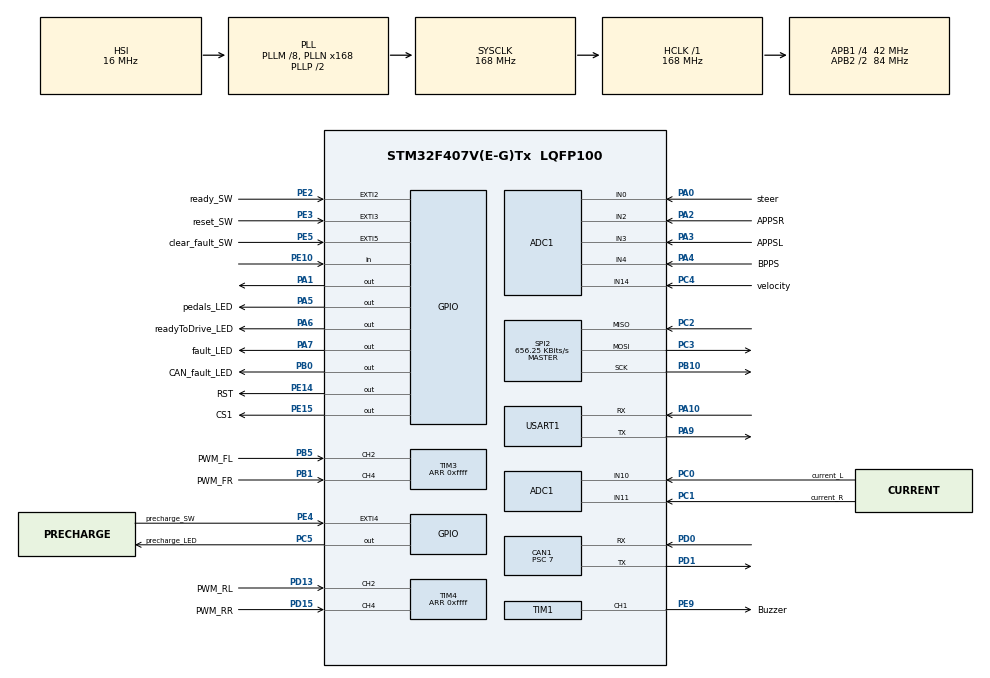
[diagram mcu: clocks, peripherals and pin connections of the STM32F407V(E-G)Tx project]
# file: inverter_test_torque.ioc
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ADC1.Channel-0\#ChannelRegularConversion=ADC_CHANNEL_2
ADC1.Channel-1\#ChannelRegularConversion=ADC_CHANNEL_3
ADC1.Channel-2\#ChannelRegularConversion=ADC_CHANNEL_4
ADC1.Channel-3\#ChannelRegularConversion=ADC_CHANNEL_0
ADC1.Channel-4\#ChannelRegularConversion=ADC_CHANNEL_14
ADC1.Channel-5\#ChannelRegularConversion=ADC_CHANNEL_10
ADC1.Channel-6\#ChannelRegularConversion=ADC_CHANNEL_11
ADC1.ClockPrescaler=ADC_CLOCK_SYNC_PCLK_DIV8
ADC1.ContinuousConvMode=ENABLE
ADC1.DMAContinuousRequests=ENABLE
ADC1.NbrOfConversion=7
ADC1.NbrOfConversionFlag=1
ADC1.Rank-0\#ChannelRegularConversion=1
ADC1.Rank-1\#ChannelRegularConversion=2
ADC1.Rank-2\#ChannelRegularConversion=3
ADC1.Rank-3\#ChannelRegularConversion=4
ADC1.Rank-4\#ChannelRegularConversion=5
ADC1.Rank-5\#ChannelRegularConversion=6
ADC1.Rank-6\#ChannelRegularConversion=7
ADC1.SamplingTime-0\#ChannelRegularConversion=ADC_SAMPLETIME_112CYCLES
ADC1.SamplingTime-1\#ChannelRegularConversion=ADC_SAMPLETIME_112CYCLES
ADC1.SamplingTime-2\#ChannelRegularConversion=ADC_SAMPLETIME_112CYCLES
ADC1.SamplingTime-3\#ChannelRegularConversion=ADC_SAMPLETIME_112CYCLES
ADC1.SamplingTime-4\#ChannelRegularConversion=ADC_SAMPLETIME_112CYCLES
ADC1.SamplingTime-5\#ChannelRegularConversion=ADC_SAMPLETIME_112CYCLES
ADC1.SamplingTime-6\#ChannelRegularConversion=ADC_SAMPLETIME_112CYCLES
ADC1.ScanConvMode=ENABLE
ADC1.master=1
CAN1.BS1=CAN_BS1_5TQ
CAN1.BS2=CAN_BS2_6TQ
CAN1.CalculateBaudRate=500000
CAN1.CalculateTimeBit=1999.99
CAN1.CalculateTimeQuantum=166.66666666666669
CAN1.Prescaler=7
Dma.ADC1.0.Direction=DMA_PERIPH_TO_MEMORY
Dma.ADC1.0.FIFOMode=DMA_FIFOMODE_DISABLE
Dma.ADC1.0.Instance=DMA2_Stream0
Dma.ADC1.0.MemDataAlignment=DMA_MDATAALIGN_HALFWORD
Dma.ADC1.0.MemInc=DMA_MINC_ENABLE
Dma.ADC1.0.Mode=DMA_CIRCULAR
Dma.ADC1.0.PeriphDataAlignment=DMA_PDATAALIGN_HALFWORD
Dma.ADC1.0.PeriphInc=DMA_PINC_DISABLE
Dma.ADC1.0.Priority=DMA_PRIORITY_LOW
Dma.Request0=ADC1
Dma.Request1=USART1_RX
Dma.USART1_RX.1.Direction=DMA_PERIPH_TO_MEMORY
Dma.USART1_RX.1.FIFOMode=DMA_FIFOMODE_DISABLE
Dma.USART1_RX.1.Instance=DMA2_Stream2
Dma.USART1_RX.1.MemDataAlignment=DMA_MDATAALIGN_BYTE
Dma.USART1_RX.1.MemInc=DMA_MINC_ENABLE
Dma.USART1_RX.1.Mode=DMA_NORMAL
Dma.USART1_RX.1.PeriphDataAlignment=DMA_PDATAALIGN_BYTE
Dma.USART1_RX.1.PeriphInc=DMA_PINC_DISABLE
Dma.USART1_RX.1.Priority=DMA_PRIORITY_LOW
IWDG.Prescaler=IWDG_PRESCALER_32
IWDG.Reload=1000
Mcu.Family=STM32F4
Mcu.Name=STM32F407V(E-G)Tx
Mcu.Package=LQFP100
NVIC.CAN1_RX0_IRQn=true\:3\:0\:true\:true\:true\:4\:true\:true
NVIC.DMA2_Stream0_IRQn=true\:0\:0\:false\:true\:true\:1\:false\:true
NVIC.DMA2_Stream2_IRQn=true\:0\:0\:false\:false\:true\:false\:true
NVIC.EXTI2_IRQn=true\:0\:0\:false\:false\:true\:true\:true
NVIC.EXTI3_IRQn=true\:1\:0\:true\:true\:true\:2\:true\:true
NVIC.EXTI4_IRQn=true\:1\:1\:true\:true\:true\:5\:true\:true
NVIC.EXTI9_5_IRQn=true\:3\:0\:true\:true\:true\:6\:true\:true
NVIC.PriorityGroup=NVIC_PRIORITYGROUP_2
NVIC.TIM2_IRQn=true\:2\:0\:true\:true\:true\:3\:true\:true
NVIC.TIM3_IRQn=true\:2\:0\:true\:false\:true\:true\:true
NVIC.TIM4_IRQn=true\:2\:0\:true\:false\:true\:true\:true
PA0-WKUP.GPIO_Label=steer
PA0-WKUP.Signal=ADCx_IN0
PA1.Signal=GPIO_Output
PA10.Mode=Asynchronous
PA10.Signal=USART1_RX
PA2.GPIO_Label=APPSR
PA2.Signal=ADCx_IN2
PA3.GPIO_Label=APPSL
PA3.Signal=ADCx_IN3
PA4.GPIO_Label=BPPS
PA4.Signal=ADCx_IN4
PA5.GPIO_Label=pedals_LED
PA5.Signal=GPIO_Output
PA6.GPIO_Label=readyToDrive_LED
PA6.Signal=GPIO_Output
PA7.GPIO_Label=fault_LED
PA7.Signal=GPIO_Output
PA9.Mode=Asynchronous
PA9.Signal=USART1_TX
PB0.GPIO_Label=CAN_fault_LED
PB0.Signal=GPIO_Output
PB1.GPIO_Label=PWM_FR
PB1.Signal=S_TIM3_CH4
PB10.Mode=Full_Duplex_Master
PB10.Signal=SPI2_SCK
PB5.GPIO_Label=PWM_FL
PB5.Signal=S_TIM3_CH2
PC0.GPIO_Label=current_L
PC0.Signal=ADCx_IN10
PC1.GPIO_Label=current_R
PC1.Signal=ADCx_IN11
PC2.Mode=Full_Duplex_Master
PC2.Signal=SPI2_MISO
PC3.Mode=Full_Duplex_Master
PC3.Signal=SPI2_MOSI
PC4.GPIO_Label=velocity
PC4.Signal=ADCx_IN14
PC5.GPIO_Label=precharge_LED
PC5.Signal=GPIO_Output
PD0.Mode=CAN_Activate
PD0.Signal=CAN1_RX
PD1.Mode=CAN_Activate
PD1.Signal=CAN1_TX
PD13.GPIO_Label=PWM_RL
PD13.Signal=S_TIM4_CH2
PD15.GPIO_Label=PWM_RR
PD15.Signal=S_TIM4_CH4
PE10.Signal=GPIO_Input
PE14.GPIO_Label=RST
PE14.Signal=GPIO_Output
PE15.GPIO_Label=CS1
PE15.PinState=GPIO_PIN_SET
PE15.Signal=GPIO_Output
PE2.GPIO_Label=ready_SW
PE2.GPIO_ModeDefaultEXTI=GPIO_MODE_IT_RISING_FALLING
PE2.GPIO_PuPd=GPIO_PULLUP
PE2.Signal=GPXTI2
PE3.GPIO_Label=reset_SW
PE3.GPIO_ModeDefaultEXTI=GPIO_MODE_IT_RISING_FALLING
PE3.GPIO_PuPd=GPIO_PULLUP
PE3.Signal=GPXTI3
PE4.GPIO_Label=precharge_SW
PE4.GPIO_ModeDefaultEXTI=GPIO_MODE_IT_RISING_FALLING
PE4.GPIO_PuPd=GPIO_PULLDOWN
PE4.Signal=GPXTI4
PE5.GPIO_Label=clear_fault_SW
PE5.GPIO_ModeDefaultEXTI=GPIO_MODE_IT_RISING_FALLING
PE5.GPIO_PuPd=GPIO_PULLUP
PE5.Signal=GPXTI5
PE9.GPIO_Label=Buzzer
PE9.Signal=S_TIM1_CH1
PH0-OSC_IN.Mode=HSE-External-Oscillator
PH0-OSC_IN.Signal=RCC_OSC_IN
PH1-OSC_OUT.Mode=HSE-External-Oscillator
PH1-OSC_OUT.Signal=RCC_OSC_OUT
ProjectManager.HeapSize=0x200
ProjectManager.StackSize=0x400
ProjectManager.TargetToolchain=MDK-ARM V5.27
RCC.48MHZClocksFreq_Value=84000000
RCC.AHBFreq_Value=168000000
RCC.APB1CLKDivider=RCC_HCLK_DIV4
RCC.APB1Freq_Value=42000000
RCC.APB1TimFreq_Value=84000000
RCC.APB2CLKDivider=RCC_HCLK_DIV2
RCC.APB2Freq_Value=84000000
RCC.APB2TimFreq_Value=168000000
RCC.CortexFreq_Value=168000000
RCC.HCLKFreq_Value=168000000
RCC.HSE_VALUE=8000000
RCC.HSI_VALUE=16000000
RCC.LSE_VALUE=32768
RCC.PLLM=8
RCC.PLLN=168
RCC.SYSCLKFreq_VALUE=168000000
RCC.SYSCLKSource=RCC_SYSCLKSOURCE_PLLCLK
RCC.VCOOutputFreq_Value=336000000
SH.ADCx_IN0.0=ADC1_IN0,IN0
SH.ADCx_IN10.0=ADC1_IN10,IN10
SH.ADCx_IN11.0=ADC1_IN11,IN11
SH.ADCx_IN14.0=ADC1_IN14,IN14
SH.ADCx_IN2.0=ADC1_IN2,IN2
SH.ADCx_IN3.0=ADC1_IN3,IN3
SH.ADCx_IN4.0=ADC1_IN4,IN4
SH.S_TIM1_CH1.0=TIM1_CH1,PWM Generation1 CH1
SH.S_TIM3_CH2.0=TIM3_CH2,Input_Capture2_from_TI2
SH.S_TIM3_CH2.1=TIM3_CH2,TriggerSource_TI2FP2
SH.S_TIM3_CH4.0=TIM3_CH4,Input_Capture4_from_TI4
SH.S_TIM4_CH2.0=TIM4_CH2,TriggerSource_TI2FP2
SH.S_TIM4_CH2.1=TIM4_CH2,Input_Capture2_from_TI2
SH.S_TIM4_CH4.0=TIM4_CH4,Input_Capture4_from_TI4
SPI2.BaudRatePrescaler=SPI_BAUDRATEPRESCALER_64
SPI2.CLKPhase=SPI_PHASE_2EDGE
SPI2.CLKPolarity=SPI_POLARITY_HIGH
SPI2.CalculateBaudRate=656.25 KBits/s
SPI2.Direction=SPI_DIRECTION_2LINES
SPI2.Mode=SPI_MODE_MASTER
SPI2.VirtualType=VM_MASTER
TIM1.Channel-PWM\ Generation1\ CH1=TIM_CHANNEL_1
TIM1.Period=255-1
TIM1.Prescaler=646-1
TIM2.Period=100
TIM2.Prescaler=42000
TIM2.TIM_MasterOutputTrigger=TIM_TRGO_UPDATE
TIM3.Channel-Input_Capture1_from_TI2_63=TIM_CHANNEL_1
TIM3.Channel-Input_Capture2_from_TI2=TIM_CHANNEL_2
TIM3.Channel-Input_Capture3_from_TI4_63=TIM_CHANNEL_3
TIM3.Channel-Input_Capture4_from_TI4=TIM_CHANNEL_4
TIM3.ICPolarity_CH1=TIM_INPUTCHANNELPOLARITY_FALLING
TIM3.ICPolarity_CH3=TIM_INPUTCHANNELPOLARITY_FALLING
TIM3.Period=0xffff
TIM4.Channel-Input_Capture1_from_TI2_63=TIM_CHANNEL_1
TIM4.Channel-Input_Capture2_from_TI2=TIM_CHANNEL_2
TIM4.Channel-Input_Capture3_from_TI4_63=TIM_CHANNEL_3
TIM4.Channel-Input_Capture4_from_TI4=TIM_CHANNEL_4
TIM4.ICPolarity_CH1=TIM_INPUTCHANNELPOLARITY_FALLING
TIM4.ICPolarity_CH3=TIM_INPUTCHANNELPOLARITY_FALLING
TIM4.Period=0xffff
USART1.VirtualMode=VM_ASYNC
VP_IWDG_VS_IWDG.Mode=IWDG_Activate
VP_TIM1_VS_ClockSourceINT.Mode=Internal
VP_TIM2_VS_ClockSourceINT.Mode=Internal
VP_TIM3_VS_ControllerModeReset.Mode=Reset Mode
VP_TIM3_VS_indirect_ch2.Mode=Input_Capture1_from_TI2_63
VP_TIM3_VS_indirect_ch4.Mode=Input_Capture3_from_TI4_63
VP_TIM4_VS_ControllerModeReset.Mode=Reset Mode
VP_TIM4_VS_indirect_ch2.Mode=Input_Capture1_from_TI2_63
VP_TIM4_VS_indirect_ch4.Mode=Input_Capture3_from_TI4_63
board=custom

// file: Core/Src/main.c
/* USER CODE BEGIN Header */
/**
  ******************************************************************************
  * @file           : main.c
  * @brief          : Main program body
  ******************************************************************************
  * @attention
  *
  * <h2><center>&copy; Copyright (c) 2021 STMicroelectronics.
  * All rights reserved.</center></h2>
  *
  * This software component is licensed by ST under BSD 3-Clause license,
  * the "License"; You may not use this file except in compliance with the
  * License. You may obtain a copy of the License at:
  *                        opensource.org/licenses/BSD-3-Clause
  *
  ******************************************************************************
  */
/* USER CODE END Header */
#include "main.h"
#include "adc.h"
#include "can.h"
#include "dma.h"
#include "iwdg.h"
#include "spi.h"
#include "tim.h"
#include "usart.h"
#include "gpio.h"

/* USER CODE BEGIN PV */
uint16_t adcArr[5];
static CAN_TxHeaderTypeDef TxMessage;
uint8_t enable = 1;
uint16_t torque = 0;
static CAN_RxHeaderTypeDef RxMessage;
uint8_t TxData[8]={0};
uint32_t TxMailbox;
uint8_t RxData[8]={0};
/* USER CODE END PV */

void SystemClock_Config(void);
static void MX_NVIC_Init(void);
/* USER CODE BEGIN PFP */
void CAN_filterConfig(void);
void CAN_Txsetup(void);
uint16_t map(uint16_t value,uint16_t inputL,uint16_t inputH,uint16_t outputL ,uint16_t outputH);
/* USER CODE END PFP */

int main(void)
{

  /* MCU Configuration--------------------------------------------------------*/

  /* Reset of all peripherals, Initializes the Flash interface and the Systick. */
  HAL_Init();

  /* Configure the system clock */
  SystemClock_Config();

  /* Initialize all configured peripherals */
  MX_GPIO_Init();
  MX_DMA_Init();
  MX_ADC1_Init();
  MX_CAN1_Init();
  MX_TIM2_Init();
  MX_IWDG_Init();
  MX_SPI2_Init();
  MX_TIM3_Init();
  MX_TIM4_Init();
  MX_TIM1_Init();
  MX_USART1_UART_Init();

  /* Initialize interrupts */
  MX_NVIC_Init();
  /* USER CODE BEGIN 2 */
	HAL_TIM_Base_Start_IT(&htim2);
	CAN_filterConfig();
	CAN_Txsetup();
	HAL_ADC_Start_DMA(&hadc1,(uint32_t*)adcArr,5);
  /* USER CODE END 2 */

  /* Infinite loop */
  while (1)
  {

  }
}

void SystemClock_Config(void)
{
  RCC_OscInitTypeDef RCC_OscInitStruct = {0};
  RCC_ClkInitTypeDef RCC_ClkInitStruct = {0};

  /** Configure the main internal regulator output voltage
  */
  __HAL_RCC_PWR_CLK_ENABLE();
  __HAL_PWR_VOLTAGESCALING_CONFIG(PWR_REGULATOR_VOLTAGE_SCALE1);
  /** Initializes the RCC Oscillators according to the specified parameters
  * in the RCC_OscInitTypeDef structure.
  */
  RCC_OscInitStruct.OscillatorType = RCC_OSCILLATORTYPE_HSI|RCC_OSCILLATORTYPE_LSI;
  RCC_OscInitStruct.HSIState = RCC_HSI_ON;
  RCC_OscInitStruct.HSICalibrationValue = RCC_HSICALIBRATION_DEFAULT;
  RCC_OscInitStruct.LSIState = RCC_LSI_ON;
  RCC_OscInitStruct.PLL.PLLState = RCC_PLL_ON;
  RCC_OscInitStruct.PLL.PLLSource = RCC_PLLSOURCE_HSI;
  RCC_OscInitStruct.PLL.PLLM = 8;
  RCC_OscInitStruct.PLL.PLLN = 168;
  RCC_OscInitStruct.PLL.PLLP = RCC_PLLP_DIV2;
  RCC_OscInitStruct.PLL.PLLQ = 4;
  if (HAL_RCC_OscConfig(&RCC_OscInitStruct) != HAL_OK)
  {
    Error_Handler();
  }
  /** Initializes the CPU, AHB and APB buses clocks
  */
  RCC_ClkInitStruct.ClockType = RCC_CLOCKTYPE_HCLK|RCC_CLOCKTYPE_SYSCLK
                              |RCC_CLOCKTYPE_PCLK1|RCC_CLOCKTYPE_PCLK2;
  RCC_ClkInitStruct.SYSCLKSource = RCC_SYSCLKSOURCE_PLLCLK;
  RCC_ClkInitStruct.AHBCLKDivider = RCC_SYSCLK_DIV1;
  RCC_ClkInitStruct.APB1CLKDivider = RCC_HCLK_DIV4;
  RCC_ClkInitStruct.APB2CLKDivider = RCC_HCLK_DIV2;

  if (HAL_RCC_ClockConfig(&RCC_ClkInitStruct, FLASH_LATENCY_5) != HAL_OK)
  {
    Error_Handler();
  }
}

/**
  * @brief NVIC Configuration.
  * @retval None
  */
static void MX_NVIC_Init(void)
{
  /* DMA2_Stream0_IRQn interrupt configuration */
  HAL_NVIC_SetPriority(DMA2_Stream0_IRQn, 0, 0);
  HAL_NVIC_EnableIRQ(DMA2_Stream0_IRQn);
  /* EXTI3_IRQn interrupt configuration */
  HAL_NVIC_SetPriority(EXTI3_IRQn, 1, 0);
  HAL_NVIC_EnableIRQ(EXTI3_IRQn);
  /* TIM2_IRQn interrupt configuration */
  HAL_NVIC_SetPriority(TIM2_IRQn, 2, 0);
  HAL_NVIC_EnableIRQ(TIM2_IRQn);
  /* CAN1_RX0_IRQn interrupt configuration */
  HAL_NVIC_SetPriority(CAN1_RX0_IRQn, 3, 0);
  HAL_NVIC_EnableIRQ(CAN1_RX0_IRQn);
  /* EXTI4_IRQn interrupt configuration */
  HAL_NVIC_SetPriority(EXTI4_IRQn, 1, 1);
  HAL_NVIC_EnableIRQ(EXTI4_IRQn);
  /* EXTI9_5_IRQn interrupt configuration */
  HAL_NVIC_SetPriority(EXTI9_5_IRQn, 3, 0);
  HAL_NVIC_EnableIRQ(EXTI9_5_IRQn);
}

/* USER CODE BEGIN 4 */
void HAL_TIM_PeriodElapsedCallback(TIM_HandleTypeDef *htim)
{
  /* Prevent unused argument(s) compilation warning */
  UNUSED(htim);

  /* NOTE : This function should not be modified, when the callback is needed,
            the HAL_TIM_PeriodElapsedCallback could be implemented in the user file
   */

	HAL_CAN_AddTxMessage(&hcan1,&TxMessage,TxData,&TxMailbox);
	if(enable) {
		HAL_GPIO_WritePin(readyToDrive_LED_GPIO_Port,readyToDrive_LED_Pin,GPIO_PIN_SET);
		torque = (int)((float)adcArr[0]*0.1f);
		TxData[0] = torque%256;
		TxData[1] = torque/256;
		TxData[5] = 1;
	}else{
		HAL_GPIO_WritePin(readyToDrive_LED_GPIO_Port,readyToDrive_LED_Pin,GPIO_PIN_RESET);
		torque = 0;
		TxData[3] = 0;
		TxData[2] = 0;
		TxData[5] = 0;
	}

}

void CAN_filterConfig(void){
	CAN_FilterTypeDef filterConfig;

	filterConfig.FilterBank=0;
	filterConfig.FilterActivation=ENABLE;
	filterConfig.FilterFIFOAssignment=CAN_RX_FIFO0;
	filterConfig.FilterIdHigh=0x0000;
	filterConfig.FilterIdLow=0x0000;
	filterConfig.FilterMaskIdHigh=0x0000;
	filterConfig.FilterMaskIdLow=0x0000;
	filterConfig.FilterMode=CAN_FILTERMODE_IDMASK;
	filterConfig.FilterScale= CAN_FILTERSCALE_32BIT;
	filterConfig.SlaveStartFilterBank=14;

	if(HAL_CAN_ConfigFilter(&hcan1,&filterConfig)!=HAL_OK){
		Error_Handler();
	}

	if(HAL_CAN_ActivateNotification(&hcan1,CAN_IT_RX_FIFO0_MSG_PENDING)!=HAL_OK){
		Error_Handler();
	}		//enable interrupt

}
void CAN_Txsetup(){
		if(HAL_CAN_Start(&hcan1)!=HAL_OK){
		Error_Handler();
		}

		TxMessage.StdId=0x070;
		TxMessage.ExtId=0x01;
		TxMessage.RTR=CAN_RTR_DATA;
		TxMessage.IDE=CAN_ID_STD;
		TxMessage.DLC=8;
		TxMessage.TransmitGlobalTime=DISABLE;   //time trigger must be turned ON

		TxData[0]=0;
		TxData[1]=0;
		TxData[2]=0;
		TxData[3]=0;
		TxData[4]=1;
		TxData[5]=0;
		TxData[6]=0;
		TxData[7]=0;
}

void HAL_CAN_RxFifo0MsgPendingCallback(CAN_HandleTypeDef *hcan){
	if(HAL_CAN_GetRxMessage(hcan,CAN_RX_FIFO0,&RxMessage,RxData)!=HAL_OK){
		Error_Handler();
	}
}

uint16_t map(uint16_t value, uint16_t inputL,uint16_t inputH,uint16_t outputL ,uint16_t outputH){

	uint16_t returnVal=(value-inputL)*(outputH-outputL)/(inputH-inputL)+outputL;
	if(returnVal>outputH){
		return outputH;
	}else {
		return returnVal;
	}
}
/* USER CODE END 4 */

void Error_Handler(void)
{
  __disable_irq();
  while (1)
  {
  }
}

/************************ (C) COPYRIGHT STMicroelectronics *****END OF FILE****/
